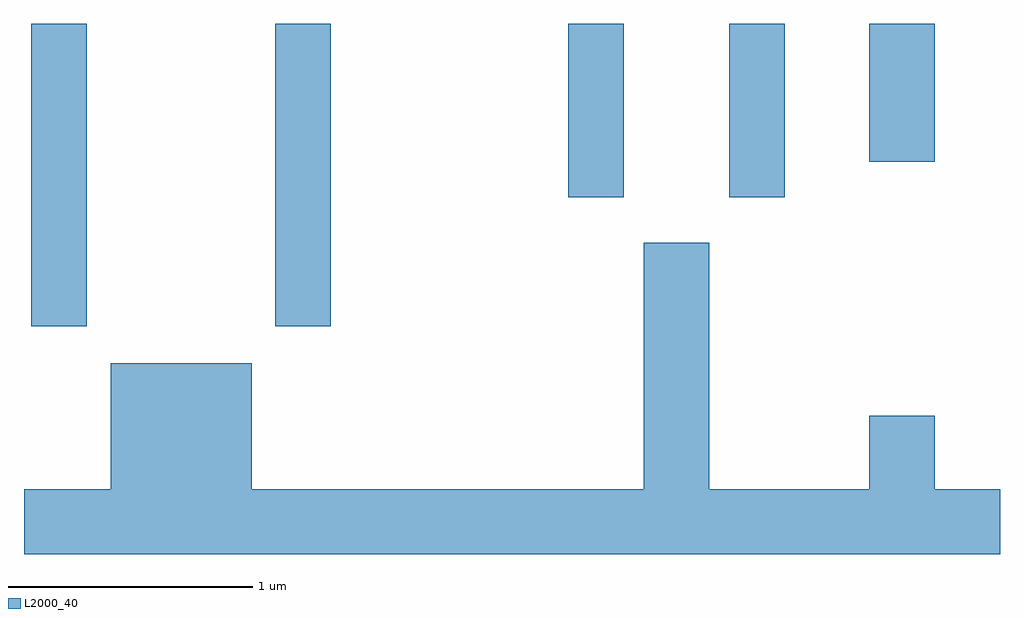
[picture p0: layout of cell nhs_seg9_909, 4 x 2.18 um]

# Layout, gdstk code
import gdstk
lib = gdstk.Library(unit=1e-6, precision=1e-09)
def R(c, l, rs):  # rectangles x0, y0, x1, y1
    for r in rs: c.add(gdstk.rectangle(r[:2], r[2:], *l))
def P(c, l, *ps):  # polygons
    for p in ps: c.add(gdstk.Polygon(p, *l))
L2000_40 = (2000, 40)

nhs_seg9_909 = lib.new_cell('nhs_seg9_909')
R(nhs_seg9_909, L2000_40, [(211.641,1997.191,211.869,1998.432), (212.641,1997.191,212.869,1998.432), (213.841,1997.721,214.069,1998.432), (214.501,1997.721,214.729,1998.432), (215.076,1997.866,215.344,1998.432)])
P(nhs_seg9_909, L2000_40, [(215.611,1996.524),(215.344,1996.524),(215.344,1996.824),(215.076,1996.824),(215.076,1996.524),(214.419,1996.524),(214.419,1997.534),(214.151,1997.534),(214.151,1996.524),(212.544,1996.524),(212.544,1997.039),(211.966,1997.039),(211.966,1996.524),(211.611,1996.524),(211.611,1996.256),(215.611,1996.256)])

lib.write_gds('nhs_seg9_909.gds')
